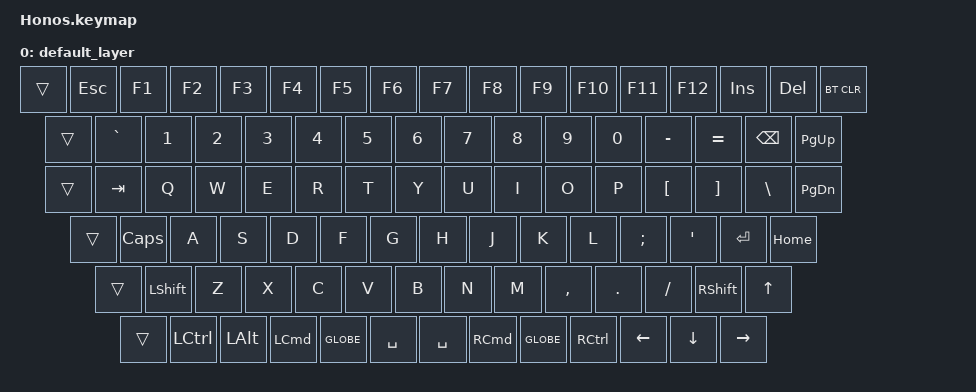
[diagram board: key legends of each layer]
/*
 * Copyright (c) 2020 The ZMK Contributors
 *
 * SPDX-License-Identifier: MIT
 */

#include <behaviors.dtsi>
#include <dt-bindings/zmk/keys.h>
#include <dt-bindings/zmk/bt.h>

/ {
        keymap {
                compatible = "zmk,keymap";

                default_layer {

                        bindings = <
                        &trans &kp ESC  &kp F1 &kp F2  &kp F3 &kp  F4  &kp F5  &kp F6  &kp F7  &kp F8  &kp F9  &kp F10  &kp F11  &kp F12  &kp INSERT  &kp DEL &bt BT_CLR
                        &trans &kp GRAVE &kp N1 &kp N2 &kp N3 &kp N4 &kp N5 &kp N6 &kp N7 &kp N8 &kp N9 &kp N0 &kp MINUS &kp EQUAL &kp BACKSPACE &kp PG_UP
                        &trans &kp TAB &kp Q &kp W &kp E &kp R &kp T &kp Y &kp U &kp I &kp O &kp P &kp LEFT_BRACKET &kp RIGHT_BRACKET &kp BACKSLASH &kp PG_DN
                        &trans &kp CAPSLOCK &kp A &kp S &kp D &kp F &kp G &kp H &kp J &kp K &kp L &kp SEMICOLON &kp APOSTROPHE &kp RETURN &kp HOME
                        &trans &kp LSHIFT &kp Z &kp X &kp C &kp V &kp B &kp N &kp M &kp COMMA &kp PERIOD &kp SLASH &kp RIGHT_SHIFT &kp UP_ARROW
                        &trans &kp LEFT_CONTROL &kp LEFT_ALT &kp LEFT_COMMAND &kp GLOBE &kp SPACE &kp SPACE &kp RIGHT_COMMAND &kp GLOBE &kp RIGHT_CONTROL &kp LEFT &kp DOWN &kp RIGHT 
                        >;
                };
                
        };
};
